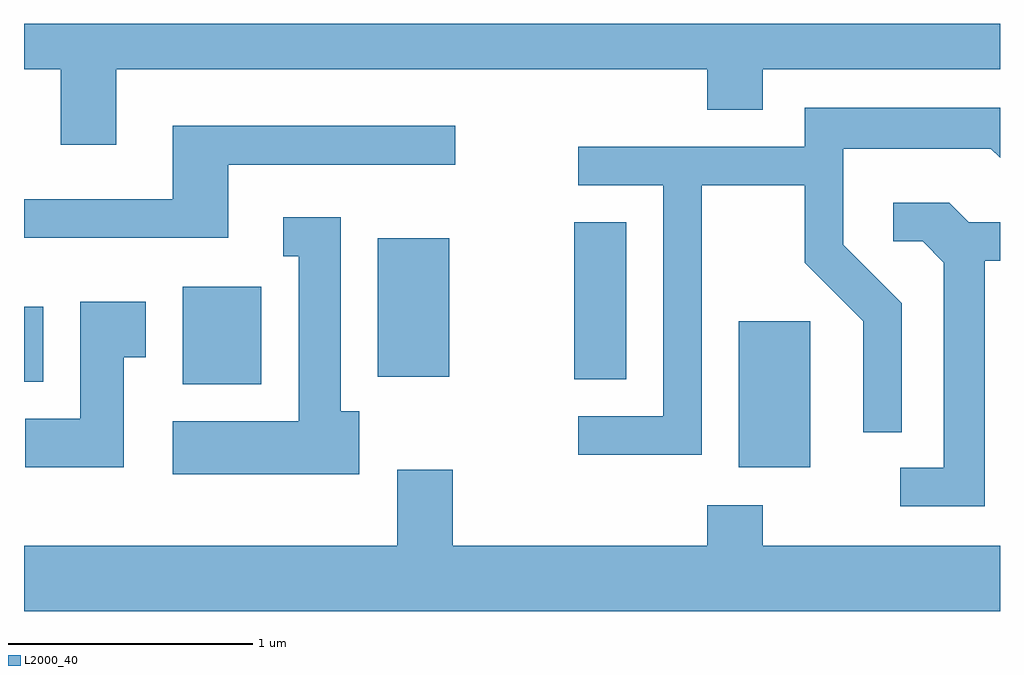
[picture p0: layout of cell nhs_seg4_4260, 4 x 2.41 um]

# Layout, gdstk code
import gdstk
lib = gdstk.Library(unit=1e-6, precision=1e-09)
def R(c, l, rs):  # rectangles x0, y0, x1, y1
    for r in rs: c.add(gdstk.rectangle(r[:2], r[2:], *l))
def P(c, l, *ps):  # polygons
    for p in ps: c.add(gdstk.Polygon(p, *l))
L2000_40 = (2000, 40)

nhs_seg4_4260 = lib.new_cell('nhs_seg4_4260')
R(nhs_seg4_4260, L2000_40, [(312.541,1344.166,312.834,1344.764), (310.261,1344.506,310.584,1344.904), (309.611,1344.516,309.689,1344.824), (311.866,1344.526,312.079,1345.169), (311.061,1344.536,311.354,1345.104)])
P(nhs_seg4_4260, L2000_40, [(309.989,1345.796),(312.411,1345.796),(312.411,1345.631),(312.639,1345.631),(312.639,1345.796),(313.611,1345.796),(313.611,1345.982),(309.611,1345.982),(309.611,1345.796),(309.761,1345.796),(309.761,1345.486),(309.989,1345.486)],
  [(312.389,1345.321),(312.811,1345.321),(312.811,1345.004),(313.051,1344.764),(313.051,1344.308),(313.209,1344.308),(313.209,1344.837),(312.969,1345.077),(312.969,1345.471),(313.574,1345.471),(313.611,1345.434),(313.611,1345.639),(312.811,1345.639),(312.811,1345.479),(311.883,1345.479),(311.883,1345.321),(312.231,1345.321),(312.231,1344.374),(311.883,1344.374),(311.883,1344.216),(312.389,1344.216)],
  [(310.449,1345.406),(311.378,1345.406),(311.378,1345.564),(310.221,1345.564),(310.221,1345.264),(309.611,1345.264),(309.611,1345.106),(310.449,1345.106)],
  [(313.549,1345.011),(313.611,1345.011),(313.611,1345.169),(313.482,1345.169),(313.402,1345.249),(313.173,1345.249),(313.173,1345.091),(313.294,1345.091),(313.381,1345.004),(313.381,1344.164),(313.203,1344.164),(313.203,1344.006),(313.549,1344.006)],
  [(310.984,1344.394),(310.909,1344.394),(310.909,1345.189),(310.673,1345.189),(310.673,1345.031),(310.736,1345.031),(310.736,1344.354),(310.221,1344.354),(310.221,1344.136),(310.984,1344.136)],
  [(310.019,1344.616),(310.109,1344.616),(310.109,1344.844),(309.841,1344.844),(309.841,1344.364),(309.616,1344.364),(309.616,1344.166),(310.019,1344.166)],
  [(313.611,1343.844),(312.639,1343.844),(312.639,1344.009),(312.411,1344.009),(312.411,1343.844),(311.369,1343.844),(311.369,1344.154),(311.141,1344.154),(311.141,1343.844),(309.611,1343.844),(309.611,1343.576),(313.611,1343.576)])

lib.write_gds('nhs_seg4_4260.gds')
